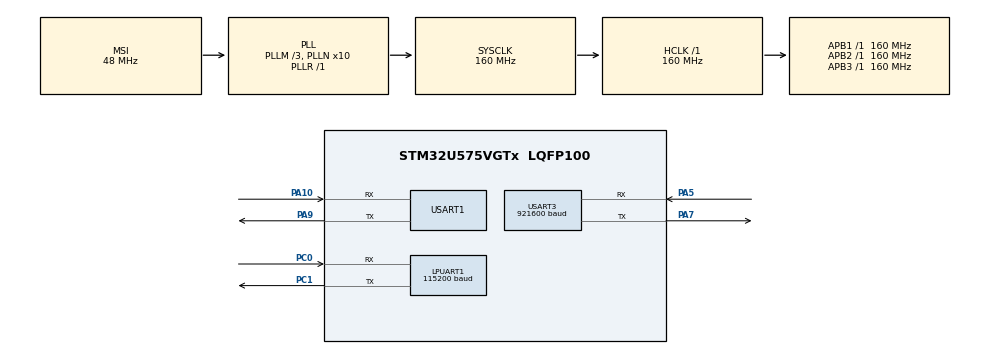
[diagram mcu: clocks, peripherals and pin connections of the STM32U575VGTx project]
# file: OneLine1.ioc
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CORTEX_M33_NS.userName=CORTEX_M33
GPDMA1.CIRCULARMODE_GPDMACH0=ENABLE
GPDMA1.CIRCULARMODE_GPDMACH3=ENABLE
GPDMA1.CIRCULARMODE_GPDMACH4=ENABLE
GPDMA1.DESTINC_GPDMACH0=DMA_DINC_INCREMENTED
GPDMA1.DESTINC_GPDMACH3=DMA_DINC_INCREMENTED
GPDMA1.DESTINC_GPDMACH4=DMA_DINC_INCREMENTED
GPDMA1.DIRECTION_GPDMACH2=DMA_MEMORY_TO_PERIPH
GPDMA1.IPHANDLE_GPDMACH0-SIMPLEREQUEST_GPDMACH0=__NULL
GPDMA1.IPHANDLE_GPDMACH2-SIMPLEREQUEST_GPDMACH2=__NULL
GPDMA1.IPHANDLE_GPDMACH3-SIMPLEREQUEST_GPDMACH3=__NULL
GPDMA1.IPHANDLE_GPDMACH4-SIMPLEREQUEST_GPDMACH4=__NULL
GPDMA1.PRIORITY_GPDMACH2=DMA_HIGH_PRIORITY
GPDMA1.PRIORITY_LL_CIRCULAR_GPDMACH0=DMA_LOW_PRIORITY_HIGH_WEIGHT
GPDMA1.PRIORITY_LL_CIRCULAR_GPDMACH3=DMA_LOW_PRIORITY_HIGH_WEIGHT
GPDMA1.PRIORITY_LL_CIRCULAR_GPDMACH4=DMA_LOW_PRIORITY_HIGH_WEIGHT
GPDMA1.REQUEST_GPDMACH0=GPDMA1_REQUEST_LPUART1_RX
GPDMA1.REQUEST_GPDMACH2=GPDMA1_REQUEST_USART3_TX
GPDMA1.REQUEST_GPDMACH3=GPDMA1_REQUEST_UART4_RX
GPDMA1.REQUEST_GPDMACH4=GPDMA1_REQUEST_USART1_RX
GPDMA1.SRCINC_GPDMACH2=DMA_SINC_INCREMENTED
LPUART1.BaudRate=115200
Mcu.Family=STM32U5
Mcu.Name=STM32U575VGTx
Mcu.Package=LQFP100
NVIC.GPDMA1_Channel0_IRQn=true\:0\:0\:false\:false\:true\:false\:true\:true
NVIC.GPDMA1_Channel2_IRQn=true\:0\:0\:false\:false\:true\:false\:true\:true
NVIC.GPDMA1_Channel3_IRQn=true\:0\:0\:false\:false\:true\:false\:true\:true
NVIC.GPDMA1_Channel4_IRQn=true\:0\:0\:false\:false\:true\:false\:true\:true
NVIC.LPUART1_IRQn=true\:0\:0\:false\:false\:true\:true\:true\:true
NVIC.PriorityGroup=NVIC_PRIORITYGROUP_4
NVIC.USART1_IRQn=true\:0\:0\:false\:false\:true\:true\:true\:true
NVIC.USART3_IRQn=true\:0\:0\:false\:false\:true\:true\:true\:true
PA10.Mode=Asynchronous
PA10.Signal=USART1_RX
PA13\ (JTMS/SWDIO).Mode=Serial_Wire
PA13\ (JTMS/SWDIO).Signal=DEBUG_JTMS-SWDIO
PA14\ (JTCK/SWCLK).Mode=Serial_Wire
PA14\ (JTCK/SWCLK).Signal=DEBUG_JTCK-SWCLK
PA5.Mode=Asynchronous
PA5.Signal=USART3_RX
PA7.Mode=Asynchronous
PA7.Signal=USART3_TX
PA9.Mode=Asynchronous
PA9.Signal=USART1_TX
PC0.Mode=Asynchronous
PC0.Signal=LPUART1_RX
PC1.Mode=Asynchronous
PC1.Signal=LPUART1_TX
PC14-OSC32_IN\ (PC14).Mode=LSE-External-Oscillator
PC14-OSC32_IN\ (PC14).Signal=RCC_OSC32_IN
PC15-OSC32_OUT\ (PC15).Mode=LSE-External-Oscillator
PC15-OSC32_OUT\ (PC15).Signal=RCC_OSC32_OUT
PH0-OSC_IN\ (PH0).Mode=HSE-External-Oscillator
PH0-OSC_IN\ (PH0).Signal=RCC_OSC_IN
PH1-OSC_OUT\ (PH1).Mode=HSE-External-Oscillator
PH1-OSC_OUT\ (PH1).Signal=RCC_OSC_OUT
ProjectManager.HeapSize=0x200
ProjectManager.StackSize=0x400
ProjectManager.TargetToolchain=MDK-ARM V5.39
RCC.ADCFreq_Value=16000000
RCC.AHBFreq_Value=160000000
RCC.APB1Freq_Value=160000000
RCC.APB1TimFreq_Value=160000000
RCC.APB2Freq_Value=160000000
RCC.APB2TimFreq_Value=160000000
RCC.APB3Freq_Value=160000000
RCC.CortexFreq_Value=160000000
RCC.EPOD_VALUE=48000000
RCC.HCLKFreq_Value=160000000
RCC.HSE_VALUE=8000000
RCC.HSI48_VALUE=48000000
RCC.HSI_VALUE=16000000
RCC.LSIDIV_VALUE=32000
RCC.MSIClockRange=RCC_MSIRANGE_0
RCC.MSI_VALUE=48000000
RCC.PLL1R=1
RCC.PLL2Source=RCC_PLLSOURCE_HSE
RCC.PLL3Source=RCC_PLLSOURCE_HSE
RCC.PLLFRACN=0
RCC.PLLM=3
RCC.PLLN=10
RCC.SYSCLKFreq_VALUE=160000000
RCC.SYSCLKSource=RCC_SYSCLKSOURCE_PLLCLK
RCC.USBFreq_Value=48000000
RCC.VCOOutputFreq_Value=160000000
USART1.VirtualMode-Asynchronous=VM_ASYNC
USART3.BaudRate=921600
USART3.FIFOMode=FIFOMODE_DISABLE
USART3.VirtualMode-Asynchronous=VM_ASYNC
VP_GPDMA1_VS_GPDMACH0.Mode=SIMPLEREQUEST_GPDMACH0
VP_GPDMA1_VS_GPDMACH2.Mode=SIMPLEREQUEST_GPDMACH2
VP_GPDMA1_VS_GPDMACH3.Mode=SIMPLEREQUEST_GPDMACH3
VP_GPDMA1_VS_GPDMACH4.Mode=SIMPLEREQUEST_GPDMACH4
VP_LPBAMQUEUE_VS_QUEUE.Mode=QUEUEMODE
VP_LPBAM_VS_SIG1.Mode=SmartRun
VP_LPBAM_VS_SIG4.Mode=LPDMA1
VP_MEMORYMAP_VS_MEMORYMAP.Mode=CurAppReg
VP_PWR_VS_SECSignals.Mode=Security/Privilege
board=custom

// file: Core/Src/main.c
/* USER CODE BEGIN Header */
/**
  ******************************************************************************
  * @file           : main.c
  * @brief          : Main program body
  ******************************************************************************
  * @attention
  *
  * Copyright (c) 2026 STMicroelectronics.
  * All rights reserved.
  *
  * This software is licensed under terms that can be found in the LICENSE file
  * in the root directory of this software component.
  * If no LICENSE file comes with this software, it is provided AS-IS.
  *
  ******************************************************************************
  */
/* USER CODE END Header */
#include "main.h"
#include "gpdma.h"
#include "usart.h"
#include "gpio.h"

/* USER CODE BEGIN Includes */
#include <string.h>
/* USER CODE END Includes */

/* USER CODE BEGIN PD */
/* 1.1s 独立看门狗(直写寄存器,不依赖 HAL IWDG 驱动):收到数据喂狗;1.1s 无数据 -> 硬复位 MCU(=自动按RST)。 */
#define IWDG_REFRESH()  (IWDG->KR = 0x0000AAAAu)
/* USER CODE END PD */

/* USER CODE BEGIN PV */

#define DMA_RX_SIZE   1024u          /* 每路 RX circular DMA 硬件缓冲 */
#define TX_QUEUE_SIZE (512u * 1024u) /* 应用环形队列 512KB(U575 RAM 768KB,够) */
#define RX_REARM_RETRY_MS 10u        /* 失败后限速重试，避免主循环反复重配 DMA */
#define FRAME_SOF         0xAAu      /* 帧起始同步字节(仅辅助重同步,解析靠 LEN) */
#define FRAME_SRC_LP      0x01u      /* 来源 = LPUART1 (PC0,  COM10) */
#define FRAME_SRC_U1      0x02u      /* 来源 = USART1  (PA10, COM8)  */
#define FRAME_HEADER_SIZE 4u         /* SOF + SRC + LEN_HI + LEN_LO */
#define FRAME_OVERHEAD    5u         /* header(4) + CRC8(1) */

/* 【关键修改】：强制 32 字节（Cache Line）对齐，确保硬件 Cache 刷新和失效不越界 */
#if defined(__ICCARM__) || defined(__CC_ARM) || defined(__GNUC__)
__attribute__((aligned(32))) static uint8_t dma_rx_lp[DMA_RX_SIZE];
__attribute__((aligned(32))) static uint8_t dma_rx_u1[DMA_RX_SIZE];
#else
static uint8_t dma_rx_lp[DMA_RX_SIZE];
static uint8_t dma_rx_u1[DMA_RX_SIZE];
#endif

static volatile uint16_t rx_last_pos_lp;
static volatile uint16_t rx_last_pos_u1;

/* 应用环形队列。生产者:两路 RxEventCallback(ISR)。消费者:tx_kick(主循环)。 */
static uint8_t  txq[TX_QUEUE_SIZE];
static volatile uint32_t txq_head;
static volatile uint32_t txq_tail;
static volatile uint32_t txq_count;

static volatile uint32_t rx_bytes;       /* LPUART1 received bytes */
static volatile uint32_t rx_bytes_u1;    /* USART1  received bytes */
static volatile uint32_t tx_bytes;
static volatile uint32_t drop_cnt;       /* 队列满时丢弃的字节数(含被整帧丢弃的帧) */
static volatile uint32_t frame_drop_cnt; /* 因放不下而被整帧丢弃的帧数 */
static volatile uint32_t main_loop_cnt;  /* 主循环心跳:一直涨=活着;停住=HardFault/死循环 */
static volatile uint32_t empty_idle_skip_lp_cnt;  /* LPUART1 启动/重启空 IDLE 跳过次数(调试) */
static volatile uint32_t empty_idle_skip_u1_cnt;  /* USART1  启动/重启空 IDLE 跳过次数(调试) */
static volatile uint32_t err_cnt;
static volatile uint32_t rx_start_stage; /* 启动进度:1=LP起,2=U1起,3=两路都起好 */

static volatile uint8_t rearm_lp;
static volatile uint8_t rearm_u1;
static volatile uint32_t rearm_lp_cnt;   /* 调试:各路实际重启了几次 */
static volatile uint32_t rearm_u1_cnt;
static volatile uint32_t rearm_lp_fail_cnt;
static volatile uint32_t rearm_u1_fail_cnt;
static uint32_t rearm_lp_last_try;
static uint32_t rearm_u1_last_try;

extern DMA_HandleTypeDef handle_GPDMA1_Channel0;   /* LPUART1_RX */
extern DMA_HandleTypeDef handle_GPDMA1_Channel4;   /* USART1_RX  */

/* 【关键修改】：节点同样要求 32 字节对齐，防止 Cache 同步越界 */
#if defined(__ICCARM__) || defined(__CC_ARM) || defined(__GNUC__)
__attribute__((aligned(32))) static DMA_NodeTypeDef  rx_node_lp;
__attribute__((aligned(32))) static DMA_NodeTypeDef  rx_node_u1;
#else
static DMA_NodeTypeDef  rx_node_lp;
static DMA_NodeTypeDef  rx_node_u1;
#endif

static DMA_QListTypeDef rx_list_lp;
static DMA_QListTypeDef rx_list_u1;

/* USER CODE END PV */

void SystemClock_Config(void);
/* USER CODE BEGIN PFP */
static HAL_StatusTypeDef rx_dma_circular_start(UART_HandleTypeDef *huart,
                                               DMA_HandleTypeDef *hdma,
                                               DMA_NodeTypeDef *node,
                                               DMA_QListTypeDef *list,
                                               DMA_Channel_TypeDef *channel,
                                               uint32_t request,
                                               uint8_t *buffer);
__attribute__((used, noinline, optnone))
static void rx_event_drain(const uint8_t *buf, volatile uint16_t *last_pos,
                           volatile uint32_t *rx_count, uint16_t Size, uint8_t src);
static void txq_push(const uint8_t *data, uint16_t len);
__attribute__((used, noinline, optnone))
static uint8_t crc8_update(uint8_t crc, uint8_t value);
static void tx_kick(void);
/* USER CODE END PFP */

int main(void)
{

  /* USER CODE BEGIN 1 */
  __HAL_RCC_GPDMA1_CLK_ENABLE();
  __HAL_RCC_GPDMA1_FORCE_RESET();
  __HAL_RCC_GPDMA1_RELEASE_RESET();
  /* USER CODE END 1 */

  /* MCU Configuration--------------------------------------------------------*/

  /* Reset of all peripherals, Initializes the Flash interface and the Systick. */
  HAL_Init();

  /* Configure the system clock */
  SystemClock_Config();

  /* Initialize all configured peripherals */
  MX_GPIO_Init();
  MX_GPDMA1_Init();
  MX_LPUART1_UART_Init();
  MX_USART3_UART_Init();
  MX_USART1_UART_Init();
  /* USER CODE BEGIN 2 */
  rx_start_stage = 1U;
  if (rx_dma_circular_start(&hlpuart1, &handle_GPDMA1_Channel0, &rx_node_lp,
                            &rx_list_lp, GPDMA1_Channel0,
                            GPDMA1_REQUEST_LPUART1_RX, dma_rx_lp) != HAL_OK)
  {
    Error_Handler();
  }
  rx_start_stage = 2U;
  if (rx_dma_circular_start(&huart1, &handle_GPDMA1_Channel4, &rx_node_u1,
                            &rx_list_u1, GPDMA1_Channel4,
                            GPDMA1_REQUEST_USART1_RX, dma_rx_u1) != HAL_OK)
  {
    Error_Handler();
  }
  rx_start_stage = 3U;

  /* 启动 1.1s 独立看门狗(IWDG):卡死/无流量 1.1s 即硬复位,等效自动按 RST(即便 CPU 卡在
     HardFault 也能复位)。喂狗在 HAL_UARTEx_RxEventCallback 收到真实数据时进行。 */
  __HAL_DBGMCU_FREEZE_IWDG();           /* 调试 halt 时冻结看门狗,不打扰下断点调试 */
  IWDG->KR  = 0x0000CCCCu;              /* 启动 IWDG(自动开 LSI ~32kHz) */
  IWDG->KR  = 0x00005555u;              /* 解锁 PR/RLR 写访问 */
  IWDG->PR  = 3u;                       /* 预分频 /32 -> 计数时钟 1 kHz */
  IWDG->RLR = 1099u;                    /* (1099+1)/1000 = 1.1 s */
  while ((IWDG->SR & 0x07u) != 0u) { }  /* 等 PR/RLR 更新完成 */
  IWDG->KR  = 0x0000AAAAu;              /* 初次喂狗 */
  /* USER CODE END 2 */

  /* Infinite loop */
  while (1)
  {

    /* USER CODE BEGIN 3 */
    if ((rearm_lp != 0u) &&
        ((uint32_t)(HAL_GetTick() - rearm_lp_last_try) >= RX_REARM_RETRY_MS))
    {
      HAL_StatusTypeDef status;

      rearm_lp_last_try = HAL_GetTick();
      rearm_lp = 0u;
      rx_last_pos_lp = 0u;
      status = rx_dma_circular_start(&hlpuart1, &handle_GPDMA1_Channel0, &rx_node_lp,
                                     &rx_list_lp, GPDMA1_Channel0,
                                     GPDMA1_REQUEST_LPUART1_RX, dma_rx_lp);
      if (status == HAL_OK) { rearm_lp_cnt++; }
      else { rearm_lp_fail_cnt++; rearm_lp = 1u; }
    }

    if ((rearm_u1 != 0u) &&
        ((uint32_t)(HAL_GetTick() - rearm_u1_last_try) >= RX_REARM_RETRY_MS))
    {
      HAL_StatusTypeDef status;

      rearm_u1_last_try = HAL_GetTick();
      rearm_u1 = 0u;
      rx_last_pos_u1 = 0u;
      status = rx_dma_circular_start(&huart1, &handle_GPDMA1_Channel4, &rx_node_u1,
                                     &rx_list_u1, GPDMA1_Channel4,
                                     GPDMA1_REQUEST_USART1_RX, dma_rx_u1);
      if (status == HAL_OK) { rearm_u1_cnt++; }
      else { rearm_u1_fail_cnt++; rearm_u1 = 1u; }
    }

    main_loop_cnt++;
    tx_kick();
  }
  /* USER CODE END 3 */
}

void SystemClock_Config(void)
{
  RCC_OscInitTypeDef RCC_OscInitStruct = {0};
  RCC_ClkInitTypeDef RCC_ClkInitStruct = {0};

  /** Configure the main internal regulator output voltage
  */
  if (HAL_PWREx_ControlVoltageScaling(PWR_REGULATOR_VOLTAGE_SCALE1) != HAL_OK)
  {
    Error_Handler();
  }

  /** Initializes the CPU, AHB and APB buses clocks
  */
  RCC_OscInitStruct.OscillatorType = RCC_OSCILLATORTYPE_MSI;
  RCC_OscInitStruct.MSIState = RCC_MSI_ON;
  RCC_OscInitStruct.MSICalibrationValue = RCC_MSICALIBRATION_DEFAULT;
  RCC_OscInitStruct.MSIClockRange = RCC_MSIRANGE_0;
  RCC_OscInitStruct.PLL.PLLState = RCC_PLL_ON;
  RCC_OscInitStruct.PLL.PLLSource = RCC_PLLSOURCE_MSI;
  RCC_OscInitStruct.PLL.PLLMBOOST = RCC_PLLMBOOST_DIV4;
  RCC_OscInitStruct.PLL.PLLM = 3;
  RCC_OscInitStruct.PLL.PLLN = 10;
  RCC_OscInitStruct.PLL.PLLP = 2;
  RCC_OscInitStruct.PLL.PLLQ = 2;
  RCC_OscInitStruct.PLL.PLLR = 1;
  RCC_OscInitStruct.PLL.PLLRGE = RCC_PLLVCIRANGE_1;
  RCC_OscInitStruct.PLL.PLLFRACN = 0;
  if (HAL_RCC_OscConfig(&RCC_OscInitStruct) != HAL_OK)
  {
    Error_Handler();
  }

  /** Initializes the CPU, AHB and APB buses clocks
  */
  RCC_ClkInitStruct.ClockType = RCC_CLOCKTYPE_HCLK|RCC_CLOCKTYPE_SYSCLK
                              |RCC_CLOCKTYPE_PCLK1|RCC_CLOCKTYPE_PCLK2
                              |RCC_CLOCKTYPE_PCLK3;
  RCC_ClkInitStruct.SYSCLKSource = RCC_SYSCLKSOURCE_PLLCLK;
  RCC_ClkInitStruct.AHBCLKDivider = RCC_SYSCLK_DIV1;
  RCC_ClkInitStruct.APB1CLKDivider = RCC_HCLK_DIV1;
  RCC_ClkInitStruct.APB2CLKDivider = RCC_HCLK_DIV1;
  RCC_ClkInitStruct.APB3CLKDivider = RCC_HCLK_DIV1;

  if (HAL_RCC_ClockConfig(&RCC_ClkInitStruct, FLASH_LATENCY_4) != HAL_OK)
  {
    Error_Handler();
  }
}

/* USER CODE BEGIN 4 */

static HAL_StatusTypeDef rx_dma_circular_start(UART_HandleTypeDef *huart,
                                               DMA_HandleTypeDef *hdma,
                                               DMA_NodeTypeDef *node,
                                               DMA_QListTypeDef *list,
                                               DMA_Channel_TypeDef *channel,
                                               uint32_t request,
                                               uint8_t *buffer)
{
  DMA_NodeConfTypeDef nc = {0};

  if (HAL_UART_AbortReceive(huart) != HAL_OK) { return HAL_ERROR; }
  if (HAL_DMA_DeInit(hdma) != HAL_OK) { return HAL_ERROR; }
  if (HAL_DMAEx_List_ResetQ(list) != HAL_OK) { return HAL_ERROR; }

  nc.NodeType                 = DMA_GPDMA_LINEAR_NODE;
  nc.Init.Request             = request;
  nc.Init.BlkHWRequest        = DMA_BREQ_SINGLE_BURST;
  nc.Init.Direction           = DMA_PERIPH_TO_MEMORY;
  nc.Init.SrcInc              = DMA_SINC_FIXED;
  nc.Init.DestInc             = DMA_DINC_INCREMENTED;
  nc.Init.SrcDataWidth        = DMA_SRC_DATAWIDTH_BYTE;
  nc.Init.DestDataWidth       = DMA_DEST_DATAWIDTH_BYTE;
  nc.Init.SrcBurstLength      = 1;
  nc.Init.DestBurstLength     = 1;
  nc.Init.TransferAllocatedPort   = DMA_SRC_ALLOCATED_PORT0 | DMA_DEST_ALLOCATED_PORT0;
  nc.Init.TransferEventMode       = DMA_TCEM_BLOCK_TRANSFER;
  nc.Init.Mode                = DMA_NORMAL;
  nc.TriggerConfig.TriggerPolarity= DMA_TRIG_POLARITY_MASKED;
  nc.DataHandlingConfig.DataExchange = DMA_EXCHANGE_NONE;
  nc.DataHandlingConfig.DataAlignment = DMA_DATA_RIGHTALIGN_ZEROPADDED;
  nc.SrcAddress               = (uint32_t)&huart->Instance->RDR;
  nc.DstAddress               = (uint32_t)buffer;
  nc.DataSize                 = DMA_RX_SIZE;

  if (HAL_DMAEx_List_BuildNode(&nc, node) != HAL_OK) { return HAL_ERROR; }

  /* 【关键修改】：强刷 D-Cache，确保硬件 DMA 能读到正确的节点配置，避免野指针 */

  if (HAL_DMAEx_List_InsertNode(list, NULL, node) != HAL_OK) { return HAL_ERROR; }
  if (HAL_DMAEx_List_SetCircularMode(list) != HAL_OK) { return HAL_ERROR; }

  hdma->Instance                         = channel;
  hdma->InitLinkedList.Priority          = DMA_LOW_PRIORITY_HIGH_WEIGHT;
  hdma->InitLinkedList.LinkStepMode      = DMA_LSM_FULL_EXECUTION;
  hdma->InitLinkedList.LinkAllocatedPort = DMA_LINK_ALLOCATED_PORT0;
  hdma->InitLinkedList.TransferEventMode = DMA_TCEM_BLOCK_TRANSFER;
  hdma->InitLinkedList.LinkedListMode    = DMA_LINKEDLIST_CIRCULAR;
  if (HAL_DMAEx_List_Init(hdma) != HAL_OK) { return HAL_ERROR; }
  if (HAL_DMAEx_List_LinkQ(hdma, list) != HAL_OK) { return HAL_ERROR; }

  __HAL_LINKDMA(huart, hdmarx, *hdma);
  if (HAL_DMA_ConfigChannelAttributes(hdma, DMA_CHANNEL_NPRIV) != HAL_OK)
  {
    return HAL_ERROR;
  }

  return HAL_UARTEx_ReceiveToIdle_DMA(huart, buffer, DMA_RX_SIZE);
}

static void txq_push(const uint8_t *data, uint16_t len)
{
  /* 【关键修改】：移除多余的 __disable_irq() 提速 */
  uint32_t space;
  uint32_t first;

  space = TX_QUEUE_SIZE - txq_count;
  if ((uint32_t)len > space)
  {
    drop_cnt += (uint32_t)len - space;
    len = (uint16_t)space;
  }

  if (len != 0u)
  {
    first = TX_QUEUE_SIZE - txq_head;
    if (first > (uint32_t)len)
    {
      first = (uint32_t)len;
    }
    memcpy(&txq[txq_head], data, first);
    if ((uint32_t)len > first)
    {
      memcpy(&txq[0], data + first, (uint32_t)len - first);
    }

    txq_head += len;
    if (txq_head >= TX_QUEUE_SIZE)
    {
      txq_head -= TX_QUEUE_SIZE;
    }
    txq_count += len;
  }
}

__attribute__((used, noinline, optnone))
static uint8_t crc8_update(uint8_t crc, uint8_t value)
{
  uint8_t bit;
  crc ^= value;
  for (bit = 0u; bit < 8u; bit++)
  {
    crc = ((crc & 0x80u) != 0u) ? (uint8_t)((crc << 1u) ^ 0x07u)
                                : (uint8_t)(crc << 1u);
  }
  return crc;
}

__attribute__((used, noinline, optnone))
static void rx_event_drain(const uint8_t *buf, volatile uint16_t *last_pos,
                           volatile uint32_t *rx_count, uint16_t Size, uint8_t src)
{
  /* 【关键修改】：读取前使 D-Cache 失效，强迫 CPU 从 SRAM 读取最新到达的 DMA 数据 */

  uint16_t pos  = (Size > DMA_RX_SIZE) ? DMA_RX_SIZE : Size;
  uint16_t last = *last_pos;
  const uint8_t *seg1;
  const uint8_t *seg2 = NULL;
  uint16_t len1;
  uint16_t len2 = 0u;
  uint16_t total;

  /* 【关键修改】：用 32 位整型保障 header 在局部栈上的 4 字节对齐 */
  uint32_t header_buf;
  uint8_t *header = (uint8_t *)&header_buf;

  uint8_t  crc;
  uint16_t i;
  uint32_t frame_len;

  if (pos == last) { return; }

  if (pos > last)
  {
    seg1 = &buf[last];
    len1 = (uint16_t)(pos - last);
  }
  else
  {
    seg1 = &buf[last];
    len1 = (uint16_t)(DMA_RX_SIZE - last);
    seg2 = &buf[0];
    len2 = pos;
  }
  total = (uint16_t)(len1 + len2);

  *last_pos = pos;

  if (total == 0u) { return; }
  *rx_count += total;

  header[0] = FRAME_SOF;
  header[1] = src;
  header[2] = (uint8_t)(total >> 8);
  header[3] = (uint8_t)total;

  crc = crc8_update(0u, src);
  crc = crc8_update(crc, header[2]);
  crc = crc8_update(crc, header[3]);
  for (i = 0u; i < len1; i++) { crc = crc8_update(crc, seg1[i]); }
  for (i = 0u; i < len2; i++) { crc = crc8_update(crc, seg2[i]); }

  frame_len = (uint32_t)FRAME_OVERHEAD + (uint32_t)total;
  if (frame_len > (uint32_t)(TX_QUEUE_SIZE - txq_count))
  {
    drop_cnt += frame_len;
    frame_drop_cnt++;
    return;
  }

  txq_push(header, FRAME_HEADER_SIZE);
  if (len1 != 0u) { txq_push(seg1, len1); }
  if (len2 != 0u) { txq_push(seg2, len2); }
  txq_push(&crc, 1u);
}

void HAL_UARTEx_RxEventCallback(UART_HandleTypeDef *huart, uint16_t Size)
{
  HAL_UART_RxEventTypeTypeDef ev_type = HAL_UARTEx_GetRxEventType(huart);

  if (huart == &hlpuart1)
  {
    if ((ev_type == HAL_UART_RXEVENT_IDLE) && (Size == DMA_RX_SIZE) &&
        (rx_last_pos_lp == 0u) &&
        ((uint16_t)__HAL_DMA_GET_COUNTER(huart->hdmarx) == DMA_RX_SIZE))
    {
      empty_idle_skip_lp_cnt++;
      return;
    }
    IWDG_REFRESH();   /* 收到真实数据 -> 喂狗 */
    rx_event_drain(dma_rx_lp, &rx_last_pos_lp, &rx_bytes, Size, FRAME_SRC_LP);
  }
  else if (huart == &huart1)
  {
    if ((ev_type == HAL_UART_RXEVENT_IDLE) && (Size == DMA_RX_SIZE) &&
        (rx_last_pos_u1 == 0u) &&
        ((uint16_t)__HAL_DMA_GET_COUNTER(huart->hdmarx) == DMA_RX_SIZE))
    {
      empty_idle_skip_u1_cnt++;
      return;
    }
    IWDG_REFRESH();   /* 收到真实数据 -> 喂狗 */
    rx_event_drain(dma_rx_u1, &rx_last_pos_u1, &rx_bytes_u1, Size, FRAME_SRC_U1);
  }
}

void HAL_UART_ErrorCallback(UART_HandleTypeDef *huart)
{
  if (huart == &hlpuart1)
  {
    err_cnt++;
    rearm_lp = 1u;
  }
  else if (huart == &huart1)
  {
    err_cnt++;
    rearm_u1 = 1u;
  }
}

static void tx_kick(void)
{
  uint32_t primask;

  /* 【关键修改】：改为 while 循环榨干 USART3 的 8 级硬件 FIFO */
  while (((USART3->ISR & USART_ISR_TXE_TXFNF) != 0u) && (txq_count != 0u))
  {
    USART3->TDR = txq[txq_tail];
    txq_tail++;
    if (txq_tail >= TX_QUEUE_SIZE)
    {
      txq_tail = 0u;
    }
    primask = __get_PRIMASK();
    __disable_irq();
    txq_count--;
    __set_PRIMASK(primask);
    tx_bytes++;
  }
}

/* USER CODE END 4 */

void Error_Handler(void)
{
  __disable_irq();
  while (1)
  {
  }
}
